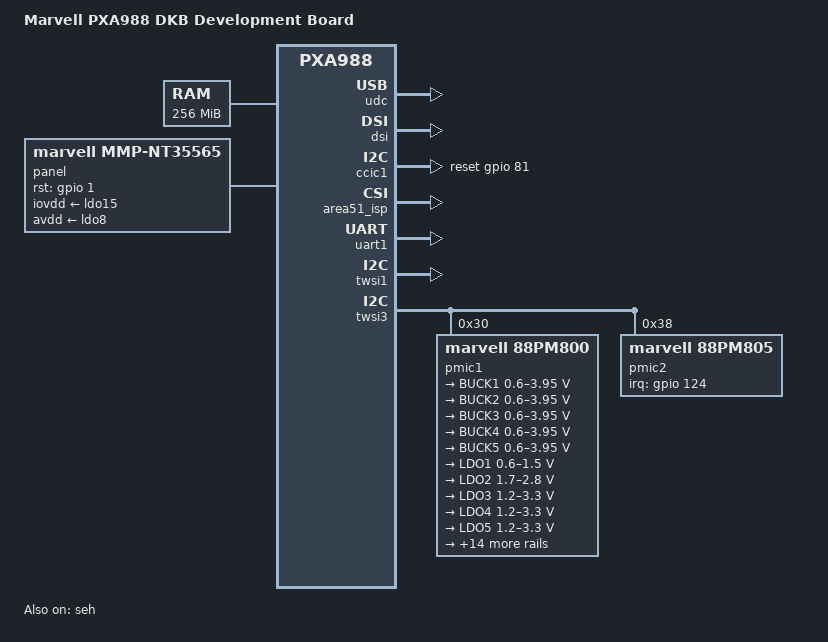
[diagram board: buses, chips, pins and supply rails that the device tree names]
/*
 *  Copyright (C) 2012 Marvell Technology Group Ltd.
 *  Author: Haojian Zhuang <haojian.zhuang@marvell.com>
 *
 *  This program is free software; you can redistribute it and/or modify
 *  it under the terms of the GNU General Public License version 2 as
 *  publishhed by the Free Software Foundation.
 */

/dts-v1/;
/memreserve/ 0x17000000 0x600000;
#include "pxa988.dtsi"

/ {
	model = "Marvell PXA988 DKB Development Board";
	compatible = "mrvl,pxa988-dkb", "mrvl,pxa988";

	chosen {
		bootargs = "console=ttyS0,115200 root=/dev/nfs nfsroot=192.168.1.100:/nfsroot/ ip=192.168.1.101:192.168.1.100::255.255.255.0::eth0:on";
	};

	memory {
		reg = <0x00000000 0x10000000>;
	};

	soc {
		ddr@c0100000 {  /* DDR memory controller */
			status = "okay";
		};

		axi@d4200000 {	/* AXI */
			usbphy: usbphy@d4207000 {
				status = "okay";
			};

			udc: udc@d4208100 {
				status = "okay";
			};

			dsi: dsi@d420b800 {
				marvell,phy-name = "mmp_dsi1";
				marvell,plat-path-name = "mmp_pnpath";
				marvell,dsi-lanes = <2>;
				marvell,burst-mode = <2>;
				marvell,hbp-en;
				status = "okay";
			};

			disp: disp@d420b000 {
				marvell,disp-name = "disp_name";
				marvell,path-num = <1>;
				status = "okay";
				path1 {
					marvell,path-name = "mmp_pnpath";
					marvell,overlay-num = <2>;
					marvell,overlay-table = <0>, <1>;
					marvell,output-type = <1>;
					marvell,path-config = <0x10>;
					marvell,link-config = <0x1>;
				};
			};

			fb: fb {
				marvell,fb-name = "mmp-fb";
				marvell,path-name = "mmp_pnpath";
				marvell,overlay-id = <1>;
				marvell,default-pixfmt = <0x108>;
				marvell,buffer-num = <3>;
				marvell,fb-mem = <0x17000000 0x600000>;
				status = "okay";
			};

			sdh3: sdh@d4281000 {
				pinctrl-names = "default";
				pinctrl-0 = <&sdh3_pmx_func1 &sdh3_pmx_func2>;
				bus-width = <8>;
				mrvl,clk-delay-cycles = <0x0>;
				non-removable;
				broken-cd;
				status = "okay";
			};

			sdh1: sdh@d4280000 {
				pinctrl-names = "default";
				pinctrl-0 = <&sdh1_pmx_func1 &sdh1_pmx_func2 &sdh1_pmx_func3 &sdh1_pmx_func4>;
				vqmmc-supply	= <&ldo12>;
				vmmc-supply	= <&ldo13>;
				cd-gpios = <&gpio 91 0>;
				cd-inverted;
				bus-width = <4>;
				mrvl,clk-delay-cycles = <0x1f>;
				wp-inverted;
				status = "okay";
			};

			sdh2: sdh@d4280800 {
				pinctrl-names = "default";
				pinctrl-0 = <
					&sdh2_pmx_func1
					&sdh2_pmx_func2
					&sdh2_pmx_func3
					&sdh2_pmx_func4
				>;
				bus-width = <4>;
				mrvl,clk-delay-cycles = <0x0>;
				status = "okay";
			};

			ccic1: ccic@d420a000 {
				pinctrl-names = "default";
				pinctrl-0 = <&ccic1_pmx_func>;
				pwdn-gpios = <&gpio 80 0>;
				reset-gpios = <&gpio 81 0>;
				af_2v8-supply = <&LDO17>;
				avdd_2v8-supply = <&LDO16>;
				fn_parent = "pll1_624";
				phy_parent = "pll1_12";
				status = "okay";
			};

			squ: squ@d42a0800 {
				compatible = "marvell,pxa910-squ";
				reg = <0xd42a0800 0x100>;
				interrupts = <0 46 0x4>;
				#dma-cells = <1>;
				asram = <&sram>;
			};
			area51_isp: area51_isp@0xD420F000 {
				status = "okay";
			};
			area51_ipc: area51_ipc@0xD4240000 {
				status = "okay";
			};
		};

		apb@d4000000 {
			pdma0: pdma@d4000000 {
				status = "okay";
			};

			uart1: uart@d4017000 {
				pinctrl-names = "default";
				pinctrl-0 = <&uart1_pmx_func>;
				status = "okay";
			};

			edgewakeup: edgewakeup@d4019800 {
				status = "okay";
			};

			rtc: rtc@d4010000 {
				status = "okay";
			};

			keypad: keypad@d4012000 {
				keypad,num-rows = <4>;
				keypad,num-columns = <8>;
				linux,keymap = <0x0000000e
						0x0001008b
						0x000200d4
						0x0100008b
						0x01010066
						0x010200d4
						0x020000e7
						0x020100d9
						0x020200f0
						0x03000073
						0x03010072
						0x030200f0>;
				marvell,debounce-interval = <30>;
				pinctrl-names = "default";
				pinctrl-0 = <&keypad_in_func  &keypad_out_func>;
				status = "okay";
			};

			ssp_dai1: pxa-ssp-dai@1 {
				compatible = "mrvl,pxa-ssp-dai";
				reg = <0x1 0x0>;
				port = <&ssp1>;
				pinctrl-names = "default","ssp";
				pinctrl-0 = <&i2s_gpio>;
				pinctrl-1 = <&i2s_func>;
				ssp-gpio = <&gpio 21 0 &gpio 22 0 &gpio 23 0 &gpio 24 0>;
				dmas = <&squ 1
					&squ 0>;
				dma-names = "rx", "tx";
				asram = <&sram>;
				platform_driver_name = "tdma_platform";
				burst_size = <4>;
				playback_period_bytes = <4096>;
				playback_buffer_bytes = <20480>;
				capture_period_bytes = <4096>;
				capture_buffer_bytes = <20480>;
			};

			ssp_dai4: pxa-ssp-dai@4 {
				compatible = "mrvl,pxa-ssp-dai";
				reg = <0x4 0x0>;
				port = <&ssp4>;
				pinctrl-names = "default","ssp";
				pinctrl-0 = <&gssp_gpio>;
				pinctrl-1 = <&gssp_func>;
				ssp-gpio = <&gpio 25 0 &gpio 26 0 &gpio 27 0 &gpio 28 0>;
				dmas = <&pdma0 6
					&pdma0 7>;
				dma-names = "rx", "tx";
				platform_driver_name = "pdma_platform";
				burst_size = <8>;
				playback_period_bytes = <4096>;
				playback_buffer_bytes = <131072>;
				capture_period_bytes = <4096>;
				capture_buffer_bytes = <131072>;
			};

			gpio: gpio@d4019000 {
				status = "okay";
				/*
				 * In theorical, some gpios could be routed to
				 * multiple pins. So define the gpio-ranges in
				 * board file, not silicon file.
				 */
				gcb0: gpio@d4019000 {
					/* gpio offset, pin offset, nr pins */
					gpio-ranges = <&pmx 0 55 32>;
				};
				gcb1: gpio@d4019004 {
					gpio-ranges = <&pmx 0 87 23>;
				};
				gcb2: gpio@d4019008 {
					gpio-ranges = <&pmx 3 110 29>;
				};
				gcb3: gpio@d4019100 {
					gpio-ranges = <&pmx 0 139 3  &pmx 28 52 1>;
				};
			};
			pmx: pinmux@d401e000 {
				/* pin base, nr pins & gpio function */
				pinctrl-single,gpio-range = <
					/*
					 * GPIO number is hardcoded for range at here.
					 * In gpio chip, GPIO number is not hardcoded for range.
					 * Since one gpio pin may be routed to multiple pins,
					 * define these gpio range in pxa910-dkb.dts not pxa910.dtsi.
					 */
					&range 55 55 0	/* GPIO0 ~ GPIO54 */
					&range 110 32 0 /* GPIO67 ~ GPIO98 */
					&range 52 1 0	/* GPIO124 */
				>;

				/* MFP_PULL_LOW | MFP_LPM_FLOAT */
				sdh1_pmx_func1: sdh1_pmx_func1 {
					pinctrl-single,pins = <
						MMC1_DAT7 AF0
						MMC1_DAT6 AF0
						MMC1_DAT5 AF0
						MMC1_DAT4 AF0
						MMC1_WP AF0
					>;
					DS_MEDIUM;PULL_DOWN;EDGE_NONE;LPM_FLOAT;
				};

				/* no pull, no LPM */
				sdh1_pmx_func2: sdh1_pmx_func2 {
					pinctrl-single,pins = <
						MMC1_DAT3 AF0
						MMC1_DAT2 AF0
						MMC1_DAT1 AF0
						MMC1_DAT0 AF0
						MMC1_CMD AF0
					>;
					MFP_DEFAULT;
				};

				/* MFP_LPM_DRIVE_LOW */
				sdh1_pmx_func3: sdh1_pmx_func3 {
					pinctrl-single,pins = <
						MMC1_CLK AF0
					>;
					MFP_LPM_DRIVE_LOW;
				};

				/* MFP_PULL_HIGH */
				sdh1_pmx_func4: sdh1_pmx_func4 {
					pinctrl-single,pins = <
						MMC1_CD AF0
					>;
					DS_MEDIUM;PULL_HIGH;EDGE_NONE;LPM_NONE;
				};

				sdh2_pmx_func1: sdh2_pmx_func1 {
						pinctrl-single,pins = <
							GPIO37 AF1
							GPIO38 AF1
							GPIO39 AF1
							GPIO40 AF1
							GPIO41 AF1
						>;
						MFP_DEFAULT;
				};

				sdh2_pmx_func2: sdh2_pmx_func2 {
						pinctrl-single,pins = <
							GPIO42 AF1
						>;
						MFP_LPM_DRIVE_LOW;
				};

				sdh2_pmx_func3: sdh2_pmx_func3 {
						pinctrl-single,pins = <
							GPIO7 AF0
							GPIO71 AF0
						>;
						DS_MEDIUM;PULL_FLOAT;EDGE_NONE;LPM_NONE;
				};

				sdh2_pmx_func4: sdh2_pmx_func4 {
						pinctrl-single,pins = <
							GPIO8 AF0
							GPIO9 AF0
						>;
						DS_MEDIUM;PULL_LOW;EDGE_NONE;LPM_NONE;
				};

				/* no pull, no LPM */
				sdh3_pmx_func1: sdh3_pmx_func1 {
					pinctrl-single,pins = <
						ND_IO7 AF1
						ND_IO6 AF1
						ND_IO5 AF1
						ND_IO4 AF1
						ND_IO3 AF1
						ND_IO2 AF1
						ND_IO1 AF1
						ND_IO0 AF1
						ND_CLE_SM_OEN AF1
						SM_BEN0 AF2
					>;
					MFP_DEFAULT;
				};

				/* MFP_LPM_DRIVE_LOW */
				sdh3_pmx_func2: sdh3_pmx_func2 {
					pinctrl-single,pins = <
						SM_SCLK AF1
					>;
					MFP_LPM_DRIVE_LOW;
				};

				/* MFP_LPM_FLOAT */
				lcd_pmx_rst: lcd_pmx_rst {
					pinctrl-single,pins = <
						0x78 0x1
					>;
					/* drive strength set value, mask */
					pinctrl-single,drive-strength = <0x1000 0x1800>;
					/* bias set value, enable, disable, mask */
					pinctrl-single,bias-pullup = <0x8000 0xc000 0x8000 0xc000>;
					pinctrl-single,bias-pulldown = <0x8000 0xa000 0x8000 0xa000>;
					/* input schmitt set value, mask */
					pinctrl-single,input-schmitt = <0 0x30>;
					/* set value, enable, disable, mask */
					pinctrl-single,input-schmitt-enable = <0x40 0 0x40 0x40>;
					/* lpm output set value, mask */
					pinctrl-single,lpm-output = <0x288 0x388>;
				};

				uart1_pmx_func: uart1_pmx_func {
					pinctrl-single,pins = <
						0x198 0x6	/* GPIO47_UART1_RXD */
						0x19c 0x6	/* GPIO48_UART1_TXD */
					>;
					/* drive strength set value, mask */
					pinctrl-single,drive-strength = <0x1000 0x1800>;
					/* bias set value, enable, disable, mask */
					pinctrl-single,bias-pullup = <0 0xc000 0 0xc000>;
					pinctrl-single,bias-pulldown = <0 0xa000 0 0xa000>;
					/* input schmitt set value, mask */
					pinctrl-single,input-schmitt = <0 0x30>;
					/* set value, enable, disable, mask */
					pinctrl-single,input-schmitt-enable = <0x40 0 0x40 0x40>;
					/* lpm output set value, mask */
					pinctrl-single,lpm-output = <0x0 0x388>;
				};

				keypad_in_func: keypad_in_func {
					pinctrl-single,pins = <
						0x0dc 0x1	/* GPIO000_KP_MKIN0 */
						0x0e4 0x1	/* GPIO002_KP_MKIN1 */
						0x0ec 0x1	/* GPIO004_KP_MKIN2 */
						0x0f4 0x1	/* GPIO006_KP_MKIN3 */
					>;
					pinctrl-single,drive-strength = <0x1000 0x1800>;
					pinctrl-single,bias-pullup = <0 0xc000 0 0xc000>;
					pinctrl-single,bias-pulldown = <0 0xa000 0 0xa000>;
					pinctrl-single,input-schmitt = <0 0x30>;
					pinctrl-single,input-schmitt-enable = <0x40 0 0x40 0x40>;
					pinctrl-single,lpm-output = <0x0 0x388>;
				};

				keypad_out_func: keypad_out_func {
					pinctrl-single,pins = <
						0x0e0 0x1	/* GPIO001_KP_MKOUT0 */
						0x0e8 0x1	/* GPIO002_KP_MKOUT1 */
						0x0f0 0x1	/* GPIO004_KP_MKOUT2 */
					>;
					pinctrl-single,drive-strength = <0x1000 0x1800>;
					pinctrl-single,bias-pullup = <0x8000 0xc000 0x8000 0xc000>;
					pinctrl-single,bias-pulldown = <0x8000 0xa000 0x8000 0xa000>;
					pinctrl-single,input-schmitt = <0 0x30>;
					pinctrl-single,input-schmitt-enable = <0x40 0 0x40 0x40>;
					pinctrl-single,lpm-output = <0x308 0x388>;
				};
				ccic1_pmx_func: ccic1_pmx_func {
					pinctrl-single,pins = <
						0x1e0 0x1
					>;
					pinctrl-single,drive-strength = <0x1000 0x1800>;
					pinctrl-single,bias-pullup = <0 0xc000 0 0xc000>;
					pinctrl-single,bias-pulldown = <0 0xa000 0 0xa000>;
					pinctrl-single,input-schmitt = <0 0x30>;
					pinctrl-single,input-schmitt-enable = <0x40 0 0x40 0x40>;
					pinctrl-single,lpm-output = <0x0 0x388>;
				};
				twsi1_pmx_func: twsi1_pmx_func {
					pinctrl-single,pins = <
						0x1b0 0x2
						0x1b4 0x2
					>;
					pinctrl-single,drive-strength = <0x1000 0x1800>;
					pinctrl-single,bias-pullup = <0 0xc000 0 0xc000>;
					pinctrl-single,bias-pulldown = <0 0xa000 0 0xa000>;
					pinctrl-single,input-schmitt = <0 0x30>;
					pinctrl-single,input-schmitt-enable = <0x40 0 0x40 0x40>;
					pinctrl-single,lpm-output = <0x0 0x388>;
				};
				i2s_func: i2s_func {
					pinctrl-single,pins = <
						0x0130 0x1
						0x0134 0x1
						0x0138 0x1
						0x013c 0x1
					>;
					pinctrl-single,drive-strength = <0x1000 0x1800>;
					pinctrl-single,bias-pullup = <0 0xc000 0 0xc000>;
					pinctrl-single,bias-pulldown = <0 0xa000 0 0xa000>;
					pinctrl-single,input-schmitt = <0 0x30>;
					pinctrl-single,input-schmitt-enable = <0x40 0 0x40 0x40>;
					pinctrl-single,lpm-output = <0x0 0x388>;
				};
				i2s_gpio: i2s_gpio {
					pinctrl-single,pins = <
						0x0130 0x0
						0x0134 0x0
						0x0138 0x0
						0x013c 0x0
					>;
					/* drive strength set value, mask */
					pinctrl-single,drive-strength = <0x1000 0x1800>;
					/* bias set value, enable, disable, mask */
					pinctrl-single,bias-pullup = <0 0xc000 0 0xc000>;
					pinctrl-single,bias-pulldown = <0 0xa000 0 0xa000>;
					/* input schmitt set value, mask */
					pinctrl-single,input-schmitt = <0 0x30>;
					/* set value, enable, disable, mask */
					pinctrl-single,input-schmitt-enable = <0x40 0 0x40 0x40>;
					/* lpm output set value, mask */
					pinctrl-single,lpm-output = <0x288 0x388>;
				};
				/* no pull, no LPM */
				dvc_pmx_func: dvc_pmx_func {
					pinctrl-single,pins = <
						0x188 0x6
						0x18c 0x6
					>;
					/* drive strength set value, mask */
					pinctrl-single,drive-strength = <0x1000 0x1800>;
					/* bias set value, enable, disable, mask */
					pinctrl-single,bias-pullup = <0 0xc000 0 0xc000>;
					pinctrl-single,bias-pulldown = <0 0xa000 0 0xa000>;
					/* input schmitt set value, mask */
					pinctrl-single,input-schmitt = <0 0x30>;
					/* set value, enable, disable, mask */
					pinctrl-single,input-schmitt-enable = <0x40 0 0x40 0x40>;
					/* lpm output set value, mask */
					pinctrl-single,lpm-output = <0 0x388>;
				};
				gssp_func: gssp_func {
					pinctrl-single,pins = <
						0x0140 0x1
						0x0144 0x1
						0x0148 0x1
						0x014c 0x1
					>;
					pinctrl-single,drive-strength = <0x1000 0x1800>;
					pinctrl-single,bias-pullup = <0 0xc000 0 0xc000>;
					pinctrl-single,bias-pulldown = <0 0xa000 0 0xa000>;
					pinctrl-single,input-schmitt = <0 0x30>;
					pinctrl-single,input-schmitt-enable = <0x40 0 0x40 0x40>;
					pinctrl-single,lpm-output = <0x0 0x388>;
				};
				gssp_gpio: gssp_gpio {
					pinctrl-single,pins = <
						0x0140 0x0
						0x0144 0x0
						0x0148 0x0
						0x014c 0x0
					>;
					/* drive strength set value, mask */
					pinctrl-single,drive-strength = <0x1000 0x1800>;
					/* bias set value, enable, disable, mask */
					pinctrl-single,bias-pullup = <0 0xc000 0 0xc000>;
					pinctrl-single,bias-pulldown = <0 0xa000 0 0xa000>;
					/* input schmitt set value, mask */
					pinctrl-single,input-schmitt = <0 0x30>;
					/* set value, enable, disable, mask */
					pinctrl-single,input-schmitt-enable = <0x40 0 0x40 0x40>;
					/* lpm output set value, mask */
					pinctrl-single,lpm-output = <0x288 0x388>;
				};
			};

			twsi1: i2c@d4011000 {
				pinctrl-names = "default";
				pinctrl-0 = <&twsi1_pmx_func>;
				status = "okay";
			};

			twsi3: i2c@d4037000 {
				status = "okay";

				pmic1: 88pm800@30 {
					compatible = "marvell,88pm800";
					reg = <0x30>;
					interrupts = <0 4 0x4>;
					interrupt-parent = <&gic>;
					interrupt-controller;
					#interrupt-cells = <1>;

					marvell,88pm800-power-page-addr = <0x31>;
					marvell,88pm800-gpadc-page-addr = <0x32>;

					battery {
						compatible = "marvell,88pm80x-battery";
						battery-use-ntc = <1>;
						battery-capacity = <1500>; /* mAh */
						hardware-resistor = <200>; /* ohm */
					};

					regulators {
						compatible = "marvell,88pm80x-regulator";

						BUCK1 {
							regulator-compatible = "88PM800-BUCK1";
							regulator-min-microvolt = <600000>;
							regulator-max-microvolt = <3950000>;
							regulator-boot-on;
							regulator-always-on;
						};
						BUCK2 {
							regulator-compatible = "88PM800-BUCK2";
							regulator-min-microvolt = <600000>;
							regulator-max-microvolt = <3950000>;
							regulator-boot-on;
							regulator-always-on;
						};
						BUCK3 {
							regulator-compatible = "88PM800-BUCK3";
							regulator-min-microvolt = <600000>;
							regulator-max-microvolt = <3950000>;
							regulator-boot-on;
							regulator-always-on;
						};
						BUCK4 {
							regulator-compatible = "88PM800-BUCK4";
							regulator-min-microvolt = <600000>;
							regulator-max-microvolt = <3950000>;
							regulator-boot-on;
							regulator-always-on;
						};
						BUCK5 {
							regulator-compatible = "88PM800-BUCK5";
							regulator-min-microvolt = <600000>;
							regulator-max-microvolt = <3950000>;
							regulator-always-on;
						};
						LDO1 {
							regulator-compatible = "88PM800-LDO1";
							regulator-min-microvolt = <600000>;
							regulator-max-microvolt = <1500000>;
						};
						LDO2: LDO2 {
							regulator-compatible = "88PM800-LDO2";
							regulator-min-microvolt = <1700000>;
							regulator-max-microvolt = <2800000>;
							regulator-boot-on;
						};
						LDO3 {
							regulator-compatible = "88PM800-LDO3";
							regulator-min-microvolt = <1200000>;
							regulator-max-microvolt = <3300000>;
							regulator-boot-on;
							regulator-always-on;
						};
						LDO4 {
							regulator-compatible = "88PM800-LDO4";
							regulator-min-microvolt = <1200000>;
							regulator-max-microvolt = <3300000>;
						};
						LDO5 {
							regulator-compatible = "88PM800-LDO5";
							regulator-min-microvolt = <1200000>;
							regulator-max-microvolt = <3300000>;
							regulator-boot-on;
							regulator-always-on;
						};
						LDO6 {
							regulator-compatible = "88PM800-LDO6";
							regulator-min-microvolt = <1200000>;
							regulator-max-microvolt = <3300000>;
						};
						LDO7 {
							regulator-compatible = "88PM800-LDO7";
							regulator-min-microvolt = <1200000>;
							regulator-max-microvolt = <3300000>;
							regulator-boot-on;
							regulator-always-on;
						};
						ldo8: LDO8 {
							regulator-compatible = "88PM800-LDO8";
							regulator-min-microvolt = <1200000>;
							regulator-max-microvolt = <3300000>;
							regulator-boot-on;
						};
						LDO9 {
							regulator-compatible = "88PM800-LDO9";
							regulator-min-microvolt = <1200000>;
							regulator-max-microvolt = <3300000>;
						};
						LDO10 {
							regulator-compatible = "88PM800-LDO10";
							regulator-min-microvolt = <1200000>;
							regulator-max-microvolt = <3300000>;
						};
						LDO11 {
							regulator-compatible = "88PM800-LDO11";
							regulator-min-microvolt = <1200000>;
							regulator-max-microvolt = <3300000>;
						};
						ldo12: LDO12 {
							regulator-compatible = "88PM800-LDO12";
							regulator-min-microvolt = <1200000>;
							regulator-max-microvolt = <3300000>;
						};
						ldo13: LDO13 {
							regulator-compatible = "88PM800-LDO13";
							regulator-min-microvolt = <1200000>;
							regulator-max-microvolt = <3300000>;
						};
						LDO14 {
							regulator-compatible = "88PM800-LDO14";
							regulator-min-microvolt = <1200000>;
							regulator-max-microvolt = <3300000>;
							regulator-boot-on;
							regulator-always-on;
						};
						ldo15: LDO15 {
							regulator-compatible = "88PM800-LDO15";
							regulator-min-microvolt = <1200000>;
							regulator-max-microvolt = <3300000>;
						};
						LDO16: LDO16 {
							regulator-compatible = "88PM800-LDO16";
							regulator-min-microvolt = <1200000>;
							regulator-max-microvolt = <3300000>;
						};
						LDO17: LDO17 {
							regulator-compatible = "88PM800-LDO17";
							regulator-min-microvolt = <1200000>;
							regulator-max-microvolt = <3300000>;
						};
						LDO18 {
							regulator-compatible = "88PM800-LDO18";
							regulator-min-microvolt = <1700000>;
							regulator-max-microvolt = <3300000>;
							regulator-boot-on;
							regulator-always-on;
						};
						LDO19 {
							regulator-compatible = "88PM800-LDO19";
							regulator-min-microvolt = <1700000>;
							regulator-max-microvolt = <3300000>;
							regulator-boot-on;
							regulator-always-on;
						};
					};

					vibrator: vibrator {
						compatible = "marvell,88pm80x-vibrator";
						min-timeout = <10>;
						duty-cycle = <0x3f>;
					};

					usb: usb {
						compatible = "marvell,88pm80x-usb";
						vbus-gpio = <2>;
						id-gpadc = <0xff>;
					};

					headset {
						compatible = "marvell,88pm80x-headset";
						marvell,switch-name = "h2w";
						marvell,headset-flag = <1>;
						marvell,hook-press-th = <60>;
						marvell,vol-up-press-th = <250>;
						marvell,vol-down-press-th = <500>;
						marvell,mic-det-th = <600>;
						marvell,press-release-th = <600>;
						marvell,micbias-supply = <&LDO2>;
					};

					dvc {
						compatible = "marvell,88pm80x-dvc";
						/* pm800 dvc affect buck1/4, affected 32bit = (1 << 3) | (1 << 0)*/
						dvc-affected-buckbits = <9>;
						pinctrl-names = "default";
						pinctrl-0 = <&dvc_pmx_func>;
					};
				};
				pmic2: 88pm805@38 {
					compatible = "marvell,88pm805";
					reg = <0x38>;
					interrupt-parent = <&gpio>;
					interrupts = <124 0x1>;
				};
			};

			acipc: acipc@d401d000 {
				status = "okay";
			};

			seh: seh@d4080000 {
				compatible = "mrvl,seh";
				reg = <0xd4080000 0x100>;
				interrupts = <0 35 0x4>;
				interrupt-names = "WDT";
				watchdog-type = <0>; /* wdt timer */
				status = "okay";
			};
		};
		soc-camera@0 {
			status = "okay";
		};
		soc-camera@1 {
			status = "okay";
		};

		soc-isp {
			status = "okay";
		};

		ion {
			marvell,ion-nr = <2>;
			status = "okay";
			heap1 {
				marvell,ion-name = "carveout_heap";
				marvell,ion-type = <2>;
				marvell,ion-id = <2>;
				marvell,ion-base = <0x09000000>;
				marvell,ion-size = <0x01000000>;
			};
			heap2 {
				marvell,ion-name = "system_heap";
				marvell,ion-type = <0>;
				marvell,ion-id = <0>;
			};
		};

	};

	sound {
		compatible = "marvell,pxa-88pm805-snd-card";
		ssp-controllers = <&ssp_dai1 &ssp_dai4>;
	};

	panel: nt35565 {
		compatible = "marvell,mmp-nt35565";
		pinctrl-names = "default";
		pinctrl-0 = <&lcd_pmx_rst>;
		marvell,path-name = "mmp_pnpath";
		rst_gpio = <&gpio 1 0>;
		iovdd-supply = <&ldo15>;
		avdd-supply = <&ldo8>;
		status = "okay";
	};
};
